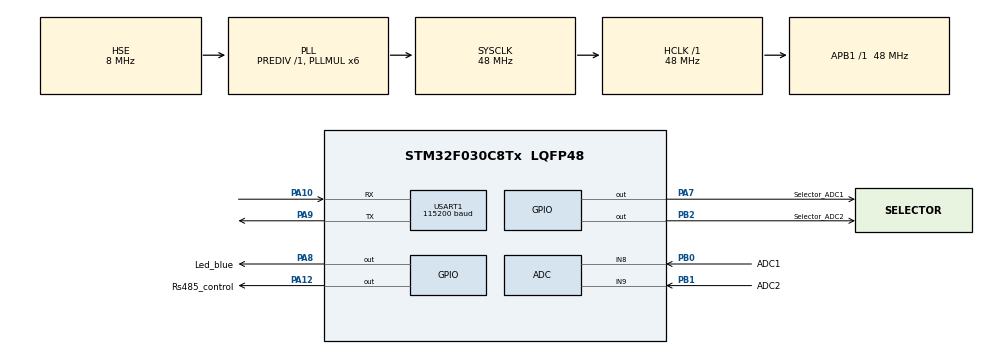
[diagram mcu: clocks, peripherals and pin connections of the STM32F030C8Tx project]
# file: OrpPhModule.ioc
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ADC.ClockPrescaler=ADC_CLOCK_SYNC_PCLK_DIV4
ADC.ContinuousConvMode=ENABLE
ADC.SamplingTime=ADC_SAMPLETIME_55CYCLES_5
Dma.ADC.0.Direction=DMA_PERIPH_TO_MEMORY
Dma.ADC.0.Instance=DMA1_Channel1
Dma.ADC.0.MemDataAlignment=DMA_MDATAALIGN_WORD
Dma.ADC.0.MemInc=DMA_MINC_ENABLE
Dma.ADC.0.Mode=DMA_CIRCULAR
Dma.ADC.0.PeriphDataAlignment=DMA_PDATAALIGN_WORD
Dma.ADC.0.PeriphInc=DMA_PINC_DISABLE
Dma.ADC.0.Priority=DMA_PRIORITY_LOW
Dma.Request0=ADC
Mcu.Family=STM32F0
Mcu.Name=STM32F030C8Tx
Mcu.Package=LQFP48
NVIC.DMA1_Channel1_IRQn=true\:0\:0\:false\:false\:true\:false\:true\:true
NVIC.USART1_IRQn=true\:0\:0\:false\:false\:true\:true\:true\:true
PA10.Mode=Asynchronous
PA10.Signal=USART1_RX
PA12.GPIO_Label=Rs485_control
PA12.Signal=GPIO_Output
PA13.Mode=Serial_Wire
PA13.Signal=SYS_SWDIO
PA14.Mode=Serial_Wire
PA14.Signal=SYS_SWCLK
PA3.Signal=USART2_RX
PA7.GPIO_Label=Selector_ADC1
PA7.Signal=GPIO_Output
PA8.GPIO_Label=Led_blue
PA8.GPIO_Speed=GPIO_SPEED_FREQ_HIGH
PA8.PinState=GPIO_PIN_RESET
PA8.Signal=GPIO_Output
PA9.Mode=Asynchronous
PA9.Signal=USART1_TX
PB0.GPIO_Label=ADC1
PB0.Mode=IN8
PB0.Signal=ADC_IN8
PB1.GPIO_Label=ADC2
PB1.Mode=IN9
PB1.Signal=ADC_IN9
PB2.GPIO_Label=Selector_ADC2
PB2.Signal=GPIO_Output
PF0-OSC_IN.Mode=HSE-External-Oscillator
PF0-OSC_IN.Signal=RCC_OSC_IN
PF1-OSC_OUT.Mode=HSE-External-Oscillator
PF1-OSC_OUT.Signal=RCC_OSC_OUT
ProjectManager.HeapSize=0x200
ProjectManager.StackSize=0x400
ProjectManager.TargetToolchain=STM32CubeIDE
RCC.AHBFreq_Value=48000000
RCC.APB1Freq_Value=48000000
RCC.APB1TimFreq_Value=48000000
RCC.EnbaleCSS=true
RCC.HCLKFreq_Value=48000000
RCC.PLLMUL=RCC_PLL_MUL6
RCC.PLLSourceVirtual=RCC_PLLSOURCE_HSE
RCC.SYSCLKFreq_VALUE=48000000
RCC.SYSCLKSource=RCC_SYSCLKSOURCE_PLLCLK
USART1.BaudRate=115200
USART1.VirtualMode-Asynchronous=VM_ASYNC
VP_TIM1_VS_ClockSourceINT.Mode=Internal
board=custom

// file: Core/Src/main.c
/* USER CODE BEGIN Header */
/**
  ******************************************************************************
  * @file           : main.c
  * @brief          : Main program body
  ******************************************************************************
  * @attention
  *
  * Copyright (c) 2024 STMicroelectronics.
  * All rights reserved.
  *
  * This software is licensed under terms that can be found in the LICENSE file
  * in the root directory of this software component.
  * If no LICENSE file comes with this software, it is provided AS-IS.
  *
  ******************************************************************************
  */
/* USER CODE END Header */
#include "main.h"

/* USER CODE BEGIN Includes */
#include "modbusSlave.h"
/* USER CODE END Includes */

ADC_HandleTypeDef hadc;
DMA_HandleTypeDef hdma_adc;

TIM_HandleTypeDef htim1;

UART_HandleTypeDef huart1;

/* USER CODE BEGIN PV */
uint32_t value[2];
uint8_t RxData[256];
uint8_t TxData[256];
/* USER CODE END PV */

void SystemClock_Config(void);
static void MX_GPIO_Init(void);
static void MX_DMA_Init(void);
static void MX_TIM1_Init(void);
static void MX_ADC_Init(void);
static void MX_USART1_UART_Init(void);

int main(void)
{

  /* MCU Configuration--------------------------------------------------------*/

  /* Reset of all peripherals, Initializes the Flash interface and the Systick. */
  HAL_Init();

  /* Configure the system clock */
  SystemClock_Config();

  /* Initialize all configured peripherals */
  MX_GPIO_Init();
  MX_DMA_Init();
  MX_TIM1_Init();
  MX_ADC_Init();
  MX_USART1_UART_Init();
  /* USER CODE BEGIN 2 */

  HAL_GPIO_WritePin(Selector_ADC2_GPIO_Port,Selector_ADC2_Pin, GPIO_PIN_SET);
  HAL_ADC_Start_DMA(&hadc, value, 2);
  HAL_UARTEx_ReceiveToIdle_IT(&huart1, RxData, 256);
  /* USER CODE END 2 */

  /* Infinite loop */
  while (1)
  {

    /* USER CODE BEGIN 3 */
	  HAL_ADC_Start_DMA(&hadc, value, 2);
	  writeToHolding(0, value[0]);
	  writeToHolding(1, value[1]);
	  HAL_Delay(500);
  }
  /* USER CODE END 3 */
}

void SystemClock_Config(void)
{
  RCC_OscInitTypeDef RCC_OscInitStruct = {0};
  RCC_ClkInitTypeDef RCC_ClkInitStruct = {0};
  RCC_PeriphCLKInitTypeDef PeriphClkInit = {0};

  /** Initializes the RCC Oscillators according to the specified parameters
  * in the RCC_OscInitTypeDef structure.
  */
  RCC_OscInitStruct.OscillatorType = RCC_OSCILLATORTYPE_HSE;
  RCC_OscInitStruct.HSEState = RCC_HSE_ON;
  RCC_OscInitStruct.PLL.PLLState = RCC_PLL_ON;
  RCC_OscInitStruct.PLL.PLLSource = RCC_PLLSOURCE_HSE;
  RCC_OscInitStruct.PLL.PLLMUL = RCC_PLL_MUL6;
  RCC_OscInitStruct.PLL.PREDIV = RCC_PREDIV_DIV1;
  if (HAL_RCC_OscConfig(&RCC_OscInitStruct) != HAL_OK)
  {
    Error_Handler();
  }

  /** Initializes the CPU, AHB and APB buses clocks
  */
  RCC_ClkInitStruct.ClockType = RCC_CLOCKTYPE_HCLK|RCC_CLOCKTYPE_SYSCLK
                              |RCC_CLOCKTYPE_PCLK1;
  RCC_ClkInitStruct.SYSCLKSource = RCC_SYSCLKSOURCE_PLLCLK;
  RCC_ClkInitStruct.AHBCLKDivider = RCC_SYSCLK_DIV1;
  RCC_ClkInitStruct.APB1CLKDivider = RCC_HCLK_DIV1;

  if (HAL_RCC_ClockConfig(&RCC_ClkInitStruct, FLASH_LATENCY_1) != HAL_OK)
  {
    Error_Handler();
  }
  PeriphClkInit.PeriphClockSelection = RCC_PERIPHCLK_USART1;
  PeriphClkInit.Usart1ClockSelection = RCC_USART1CLKSOURCE_PCLK1;
  if (HAL_RCCEx_PeriphCLKConfig(&PeriphClkInit) != HAL_OK)
  {
    Error_Handler();
  }

  /** Enables the Clock Security System
  */
  HAL_RCC_EnableCSS();
}

static void MX_ADC_Init(void)
{

  ADC_ChannelConfTypeDef sConfig = {0};

  /** Configure the global features of the ADC (Clock, Resolution, Data Alignment and number of conversion)
  */
  hadc.Instance = ADC1;
  hadc.Init.ClockPrescaler = ADC_CLOCK_SYNC_PCLK_DIV4;
  hadc.Init.Resolution = ADC_RESOLUTION_12B;
  hadc.Init.DataAlign = ADC_DATAALIGN_RIGHT;
  hadc.Init.ScanConvMode = ADC_SCAN_DIRECTION_FORWARD;
  hadc.Init.EOCSelection = ADC_EOC_SINGLE_CONV;
  hadc.Init.LowPowerAutoWait = DISABLE;
  hadc.Init.LowPowerAutoPowerOff = DISABLE;
  hadc.Init.ContinuousConvMode = ENABLE;
  hadc.Init.DiscontinuousConvMode = DISABLE;
  hadc.Init.ExternalTrigConv = ADC_SOFTWARE_START;
  hadc.Init.ExternalTrigConvEdge = ADC_EXTERNALTRIGCONVEDGE_NONE;
  hadc.Init.DMAContinuousRequests = DISABLE;
  hadc.Init.Overrun = ADC_OVR_DATA_PRESERVED;
  if (HAL_ADC_Init(&hadc) != HAL_OK)
  {
    Error_Handler();
  }

  /** Configure for the selected ADC regular channel to be converted.
  */
  sConfig.Channel = ADC_CHANNEL_8;
  sConfig.Rank = ADC_RANK_CHANNEL_NUMBER;
  sConfig.SamplingTime = ADC_SAMPLETIME_55CYCLES_5;
  if (HAL_ADC_ConfigChannel(&hadc, &sConfig) != HAL_OK)
  {
    Error_Handler();
  }

  /** Configure for the selected ADC regular channel to be converted.
  */
  sConfig.Channel = ADC_CHANNEL_9;
  if (HAL_ADC_ConfigChannel(&hadc, &sConfig) != HAL_OK)
  {
    Error_Handler();
  }

}

static void MX_TIM1_Init(void)
{

  TIM_ClockConfigTypeDef sClockSourceConfig = {0};
  TIM_MasterConfigTypeDef sMasterConfig = {0};

  htim1.Instance = TIM1;
  htim1.Init.Prescaler = 0;
  htim1.Init.CounterMode = TIM_COUNTERMODE_UP;
  htim1.Init.Period = 65535;
  htim1.Init.ClockDivision = TIM_CLOCKDIVISION_DIV1;
  htim1.Init.RepetitionCounter = 0;
  htim1.Init.AutoReloadPreload = TIM_AUTORELOAD_PRELOAD_DISABLE;
  if (HAL_TIM_Base_Init(&htim1) != HAL_OK)
  {
    Error_Handler();
  }
  sClockSourceConfig.ClockSource = TIM_CLOCKSOURCE_INTERNAL;
  if (HAL_TIM_ConfigClockSource(&htim1, &sClockSourceConfig) != HAL_OK)
  {
    Error_Handler();
  }
  sMasterConfig.MasterOutputTrigger = TIM_TRGO_RESET;
  sMasterConfig.MasterSlaveMode = TIM_MASTERSLAVEMODE_DISABLE;
  if (HAL_TIMEx_MasterConfigSynchronization(&htim1, &sMasterConfig) != HAL_OK)
  {
    Error_Handler();
  }

}

static void MX_USART1_UART_Init(void)
{

  huart1.Instance = USART1;
  huart1.Init.BaudRate = 115200;
  huart1.Init.WordLength = UART_WORDLENGTH_8B;
  huart1.Init.StopBits = UART_STOPBITS_1;
  huart1.Init.Parity = UART_PARITY_NONE;
  huart1.Init.Mode = UART_MODE_TX_RX;
  huart1.Init.HwFlowCtl = UART_HWCONTROL_NONE;
  huart1.Init.OverSampling = UART_OVERSAMPLING_16;
  huart1.Init.OneBitSampling = UART_ONE_BIT_SAMPLE_DISABLE;
  huart1.AdvancedInit.AdvFeatureInit = UART_ADVFEATURE_NO_INIT;
  if (HAL_UART_Init(&huart1) != HAL_OK)
  {
    Error_Handler();
  }

}

static void MX_DMA_Init(void)
{

  /* DMA controller clock enable */
  __HAL_RCC_DMA1_CLK_ENABLE();

  /* DMA interrupt init */
  /* DMA1_Channel1_IRQn interrupt configuration */
  HAL_NVIC_SetPriority(DMA1_Channel1_IRQn, 0, 0);
  HAL_NVIC_EnableIRQ(DMA1_Channel1_IRQn);

}

static void MX_GPIO_Init(void)
{
  GPIO_InitTypeDef GPIO_InitStruct = {0};

  /* GPIO Ports Clock Enable */
  __HAL_RCC_GPIOF_CLK_ENABLE();
  __HAL_RCC_GPIOA_CLK_ENABLE();
  __HAL_RCC_GPIOB_CLK_ENABLE();

  /*Configure GPIO pin Output Level */
  HAL_GPIO_WritePin(GPIOA, Selector_ADC1_Pin|Led_blue_Pin|Rs485_control_Pin, GPIO_PIN_RESET);

  /*Configure GPIO pin Output Level */
  HAL_GPIO_WritePin(Selector_ADC2_GPIO_Port, Selector_ADC2_Pin, GPIO_PIN_RESET);

  /*Configure GPIO pin : PA3 */
  GPIO_InitStruct.Pin = GPIO_PIN_3;
  GPIO_InitStruct.Mode = GPIO_MODE_AF_PP;
  GPIO_InitStruct.Pull = GPIO_NOPULL;
  GPIO_InitStruct.Speed = GPIO_SPEED_FREQ_HIGH;
  GPIO_InitStruct.Alternate = GPIO_AF1_USART2;
  HAL_GPIO_Init(GPIOA, &GPIO_InitStruct);

  /*Configure GPIO pins : Selector_ADC1_Pin Rs485_control_Pin */
  GPIO_InitStruct.Pin = Selector_ADC1_Pin|Rs485_control_Pin;
  GPIO_InitStruct.Mode = GPIO_MODE_OUTPUT_PP;
  GPIO_InitStruct.Pull = GPIO_NOPULL;
  GPIO_InitStruct.Speed = GPIO_SPEED_FREQ_LOW;
  HAL_GPIO_Init(GPIOA, &GPIO_InitStruct);

  /*Configure GPIO pin : Selector_ADC2_Pin */
  GPIO_InitStruct.Pin = Selector_ADC2_Pin;
  GPIO_InitStruct.Mode = GPIO_MODE_OUTPUT_PP;
  GPIO_InitStruct.Pull = GPIO_NOPULL;
  GPIO_InitStruct.Speed = GPIO_SPEED_FREQ_LOW;
  HAL_GPIO_Init(Selector_ADC2_GPIO_Port, &GPIO_InitStruct);

  /*Configure GPIO pin : Led_blue_Pin */
  GPIO_InitStruct.Pin = Led_blue_Pin;
  GPIO_InitStruct.Mode = GPIO_MODE_OUTPUT_PP;
  GPIO_InitStruct.Pull = GPIO_NOPULL;
  GPIO_InitStruct.Speed = GPIO_SPEED_FREQ_HIGH;
  HAL_GPIO_Init(Led_blue_GPIO_Port, &GPIO_InitStruct);

}

/* USER CODE BEGIN 4 */
void HAL_UARTEx_RxEventCallback(UART_HandleTypeDef *huart, uint16_t Size)
{
	if (RxData[0] == SLAVE_ID)
	{
		switch (RxData[1]){
		case 0x03:
			readHoldingRegs();
			break;
		case 0x04:
			readInputRegs();
			break;
		default:
			break;
		}
	}

	HAL_UARTEx_ReceiveToIdle_IT(&huart1, RxData, 256);
}
/* USER CODE END 4 */

void Error_Handler(void)
{
  __disable_irq();
  while (1)
  {
  }
}
